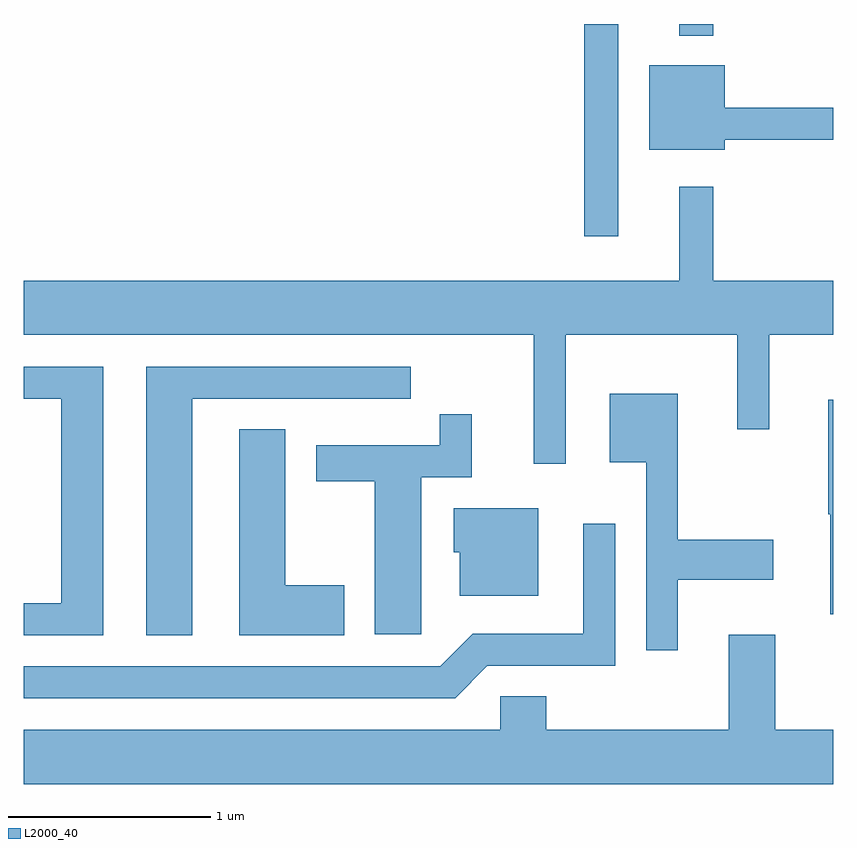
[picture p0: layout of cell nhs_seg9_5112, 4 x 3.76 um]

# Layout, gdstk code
import gdstk
lib = gdstk.Library(unit=1e-6, precision=1e-09)
def R(c, l, rs):  # rectangles x0, y0, x1, y1
    for r in rs: c.add(gdstk.rectangle(r[:2], r[2:], *l))
def P(c, l, *ps):  # polygons
    for p in ps: c.add(gdstk.Polygon(p, *l))
L2000_40 = (2000, 40)

nhs_seg9_5112 = lib.new_cell('nhs_seg9_5112')
R(nhs_seg9_5112, L2000_40, [(338.381,2023.383,338.549,2024.432), (338.851,2024.373,339.019,2024.432)])
P(nhs_seg9_5112, L2000_40, [(339.074,2023.861),(339.611,2023.861),(339.611,2024.019),(339.074,2024.019),(339.074,2024.229),(338.701,2024.229),(338.701,2023.811),(339.074,2023.811)],
  [(338.289,2022.896),(339.136,2022.896),(339.136,2022.428),(339.294,2022.428),(339.294,2022.896),(339.611,2022.896),(339.611,2023.164),(339.019,2023.164),(339.019,2023.628),(338.851,2023.628),(338.851,2023.164),(335.611,2023.164),(335.611,2022.896),(338.131,2022.896),(338.131,2022.258),(338.289,2022.258)],
  [(336.004,2022.739),(335.611,2022.739),(335.611,2022.581),(335.796,2022.581),(335.796,2021.569),(335.611,2021.569),(335.611,2021.411),(336.004,2021.411)],
  [(336.444,2022.581),(337.523,2022.581),(337.523,2022.739),(336.216,2022.739),(336.216,2021.411),(336.444,2021.411)],
  [(338.844,2021.686),(339.314,2021.686),(339.314,2021.884),(338.844,2021.884),(338.844,2022.604),(338.506,2022.604),(338.506,2022.266),(338.686,2022.266),(338.686,2021.338),(338.844,2021.338)],
  [(339.611,2022.574),(339.586,2022.574),(339.586,2022.01),(339.596,2022.01),(339.596,2021.516),(339.611,2021.516)],
  [(337.574,2022.191),(337.824,2022.191),(337.824,2022.503),(337.666,2022.503),(337.666,2022.349),(337.056,2022.349),(337.056,2022.171),(337.346,2022.171),(337.346,2021.416),(337.574,2021.416)],
  [(337.194,2021.659),(336.904,2021.659),(336.904,2022.429),(336.676,2022.429),(336.676,2021.411),(337.194,2021.411)],
  [(338.154,2022.039),(337.736,2022.039),(337.736,2021.821),(337.766,2021.821),(337.766,2021.606),(338.154,2021.606)],
  [(337.902,2021.261),(338.534,2021.261),(338.534,2021.963),(338.376,2021.963),(338.376,2021.419),(337.829,2021.419),(337.669,2021.259),(335.611,2021.259),(335.611,2021.101),(337.742,2021.101)],
  [(339.611,2020.944),(339.324,2020.944),(339.324,2021.414),(339.096,2021.414),(339.096,2020.944),(338.194,2020.944),(338.194,2021.109),(337.966,2021.109),(337.966,2020.944),(335.611,2020.944),(335.611,2020.676),(339.611,2020.676)])

lib.write_gds('nhs_seg9_5112.gds')
